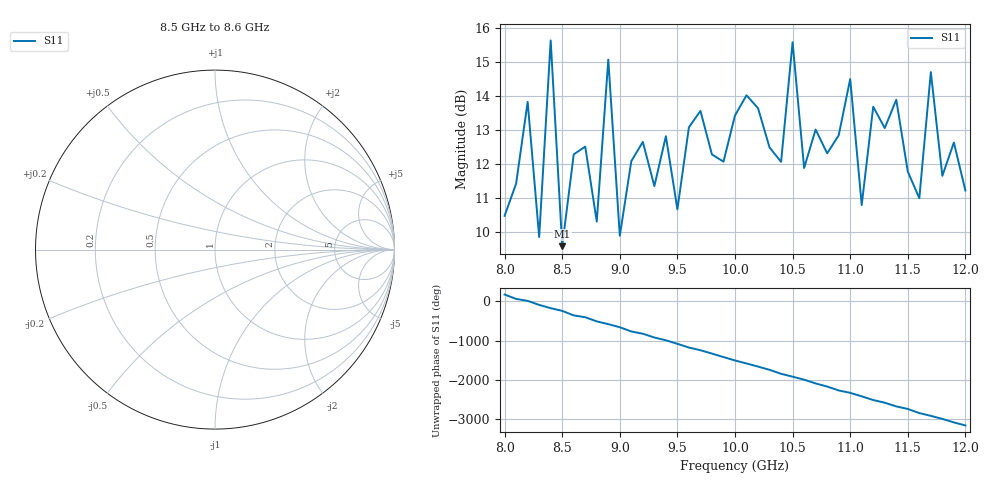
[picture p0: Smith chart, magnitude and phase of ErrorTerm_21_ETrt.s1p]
!  1-Port S-parameters saved by WinCal
! VAR NAME=2-Port SOLT labuser 3
! VAR Error Term Name=ETrt phys rcv port 2 phys src port 1
# Hz S RI R 50
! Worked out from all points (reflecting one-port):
!   41 points, 8 GHz to 12 GHz, reference 50 ohm
!   lowest |S11| = 9.6 dB at 8.5 GHz (marker M1)
!   phase of S11 starts at 174 deg and turns -3337 deg over the sweep
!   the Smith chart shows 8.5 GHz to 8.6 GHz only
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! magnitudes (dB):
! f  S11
! 8 GHz  10.5
! 8.2 GHz  13.8
! 8.3 GHz  9.8
! 8.4 GHz  15.6
! 8.5 GHz  9.6
! 8.6 GHz  12.3
! 8.8 GHz  10.3
! 8.9 GHz  15.1
! 9 GHz  9.9
! 9.2 GHz  12.6
! 9.3 GHz  11.3
! 9.4 GHz  12.8
! 9.5 GHz  10.7
! 9.6 GHz  13.1
! 9.9 GHz  12.1
! 10 GHz  13.4
! 10.4 GHz  12.1
! 10.5 GHz  15.6
! 10.6 GHz  11.9
! 11 GHz  14.5
! 11.1 GHz  10.8
! 11.2 GHz  13.7
! 11.4 GHz  13.9
! 11.5 GHz  11.8
! 11.6 GHz  11.0
! 11.7 GHz  14.7
! 11.8 GHz  11.6
! 12 GHz  11.2
